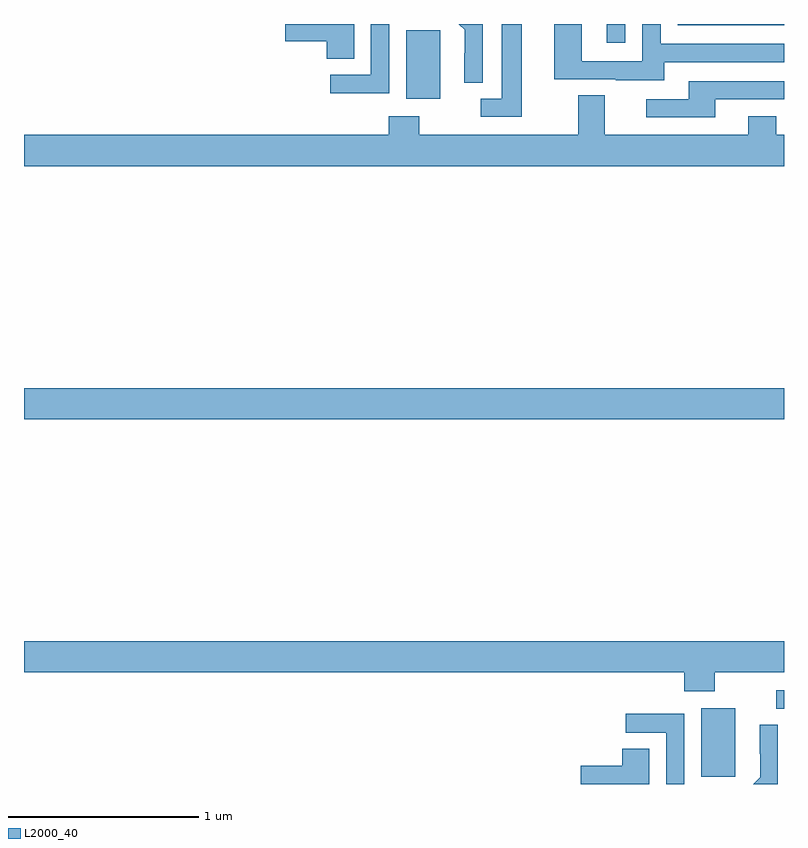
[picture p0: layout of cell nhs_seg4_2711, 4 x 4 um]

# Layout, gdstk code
import gdstk
lib = gdstk.Library(unit=1e-6, precision=1e-09)
def R(c, l, rs):  # rectangles x0, y0, x1, y1
    for r in rs: c.add(gdstk.rectangle(r[:2], r[2:], *l))
def P(c, l, *ps):  # polygons
    for p in ps: c.add(gdstk.Polygon(p, *l))
L2000_40 = (2000, 40)

nhs_seg4_2711 = lib.new_cell('nhs_seg4_2711')
R(nhs_seg4_2711, L2000_40, [(256.565,794.937,256.744,795.298), (256.959,795.297,257,795.393), (253,796.82,257,796.984), (255.011,798.506,255.19,798.867), (256.067,798.801,256.164,798.9), (256.44,798.894,257,798.9)])
P(nhs_seg4_2711, L2000_40, [(254.737,798.9),(254.376,798.9),(254.376,798.809),(254.594,798.809),(254.594,798.718),(254.737,798.718)],
  [(254.922,798.9),(254.826,798.9),(254.826,798.633),(254.613,798.633),(254.613,798.535),(254.922,798.535)],
  [(255.414,798.9),(255.289,798.9),(255.32,798.869),(255.32,798.746),(255.318,798.746),(255.318,798.592),(255.414,798.592)],
  [(256.369,798.699),(257,798.699),(257,798.795),(256.35,798.795),(256.35,798.9),(256.254,798.9),(256.254,798.705),(255.936,798.705),(255.936,798.9),(255.791,798.9),(255.791,798.609),(256.115,798.609),(256.115,798.605),(256.369,798.605)],
  [(255.619,798.9),(255.515,798.9),(255.515,798.507),(255.405,798.507),(255.405,798.411),(255.619,798.411)],
  [(256.639,798.504),(257,798.504),(257,798.6),(256.499,798.6),(256.499,798.504),(256.275,798.504),(256.275,798.408),(256.639,798.408)],
  [(257,798.316),(256.959,798.316),(256.959,798.415),(256.811,798.415),(256.811,798.316),(256.057,798.316),(256.057,798.524),(255.917,798.524),(255.917,798.316),(255.081,798.316),(255.081,798.415),(254.921,798.415),(254.921,798.316),(253,798.316),(253,798.152),(257,798.152)],
  [(256.635,795.488),(257,795.488),(257,795.652),(253,795.652),(253,795.488),(256.475,795.488),(256.475,795.389),(256.635,795.389)],
  [(256.476,795.27),(256.166,795.27),(256.166,795.171),(256.38,795.171),(256.38,794.9),(256.476,794.9)],
  [(256.968,795.212),(256.872,795.212),(256.872,795.058),(256.874,795.058),(256.874,794.936),(256.838,794.9),(256.968,794.9)],
  [(256.291,795.086),(256.148,795.086),(256.148,794.996),(255.93,794.996),(255.93,794.9),(256.291,794.9)])

lib.write_gds('nhs_seg4_2711.gds')
